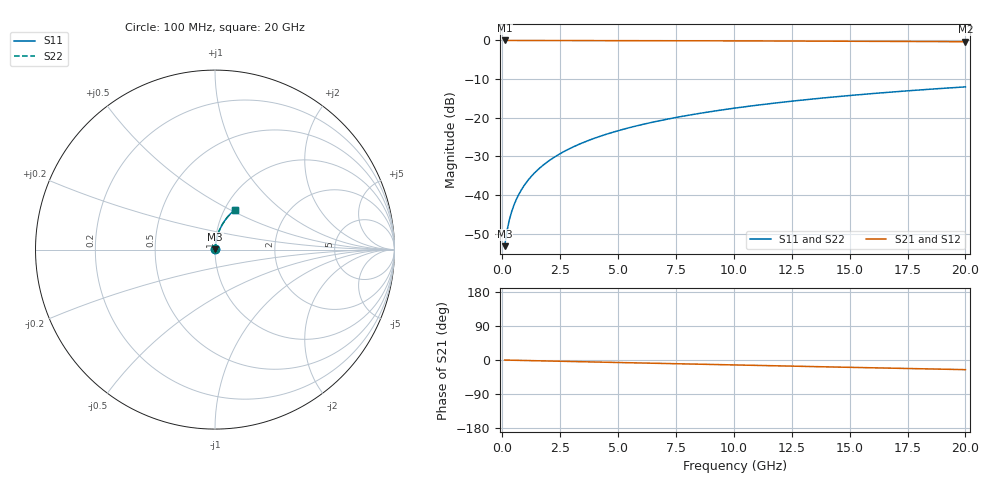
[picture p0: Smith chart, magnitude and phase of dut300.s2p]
! Touchstone file exported from HFSS 2026.1.0
!  File:  C:/ffzhzh/LocalFiles/Ansys_Project_Files/temp_train_TMRDL_300_1783003120_55676.aedt
!  Generated:  10:40:10 PM Jul  2, 2026
!  Design:  TMRDL
!  Project:  temp_train_TMRDL_300_1783003120_55676
! Variables:
!  h_bsmrdl = 2um
!  h_ox = 20um
!  h_rdl = 5um
!  h_sub = 80um
!  h_tmrdl = 3.21um
!  h_tsv = 80um
!  h_via = 3um
!  l_bsmrdl = 300um
!  l_sub = 728.24um
!  l_tmrdl = 328.24um
!  m_sub = 200um
!  pitch = 57.8um
!  r_tsv = 6um
!  s_tmrdl = 10um
!  w_bsmrdl = 18um
!  w_sub = 500um
!  w_tmrdl = 28.08um
!  x_tsv_center1 = 342.28um
!  x_tsv_center2 = 660.28um
!  x_tsv_center3 = 1016.6um
!  x_tsv_center4 = 1334.6um
!  x_tsv_center5 = 1690.92um
!  x_tsv_center6 = 2008.92um
# GHz S MA R 50.000000
! Terminal data exported
! Port[1] = TM_RDL1_1_T1
! Port[2] = TM_RDL1_1_T2
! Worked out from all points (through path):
!   200 points, 100 MHz to 20 GHz, reference 50 ohm
!   highest |S21| = -0.01 dB at 100 MHz (marker M1); lowest = -0.3 dB at 20 GHz (marker M2)
!   group delay of S21, straight-line fit = 3.54 ps
!   lowest |S11| = -53.3 dB at 100 MHz (marker M3), VSWR 1.00, Z = 50.2 + j0.15 ohm
!   |S11| at or under -10 dB: start of sweep to end of sweep
!   |S22| runs from -53.3 to -12.0 dB; largest |S21 - S12| = 3.1e-15
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0.1  0.002169 43.6  0.9984 -0.1  0.9984 -0.1  0.002169 43.6
! Gamma 0 0 0 0
! Port Impedance 50 0 50 0
0.2  0.003386 60.5  0.9983 -0.3  0.9983 -0.3  0.003386 60.5
0.3  0.004696 67.8  0.9982 -0.4  0.9982 -0.4  0.004696 67.8
0.4  0.006013 71.8  0.9982 -0.5  0.9982 -0.5  0.006013 71.8
0.5  0.007332 74.4  0.9981 -0.7  0.9981 -0.7  0.007332 74.4
0.6  0.008652 76.3  0.998 -0.8  0.998 -0.8  0.008652 76.3
0.8  0.01131 78.8  0.9979 -1.1  0.9979 -1.1  0.01131 78.8
1.1  0.01532 80.8  0.9978 -1.5  0.9978 -1.5  0.01532 80.8
1.5  0.02071 82.1  0.9977 -2.0  0.9977 -2.0  0.02071 82.1
1.8  0.02476 82.6  0.9975 -2.4  0.9975 -2.4  0.02476 82.6
2.1  0.02881 82.8  0.9974 -2.8  0.9974 -2.8  0.02881 82.8
2.7  0.03692 82.8  0.997 -3.6  0.997 -3.6  0.03692 82.8
3.5  0.04769 82.4  0.9964 -4.6  0.9964 -4.6  0.04769 82.4
4.2  0.05707 81.7  0.9957 -5.6  0.9957 -5.6  0.05707 81.8
5  0.06772 80.9  0.9948 -6.6  0.9948 -6.6  0.06772 80.9
5.9  0.07961 79.9  0.9937 -7.8  0.9937 -7.8  0.07961 79.9
6.8  0.09139 78.9  0.9924 -8.9  0.9924 -8.9  0.09139 78.9
8.3  0.1108 77.1  0.99 -10.9  0.99 -10.9  0.1108 77.1
10.1  0.1336 74.9  0.9867 -13.2  0.9867 -13.2  0.1336 75.0
13.4  0.1743 71.0  0.9796 -17.3  0.9796 -17.3  0.1743 71.0
16.7  0.2132 67.0  0.9713 -21.4  0.9713 -21.4  0.2132 67.0
20  0.2503 63.1  0.962 -25.5  0.962 -25.5  0.2503 63.1
